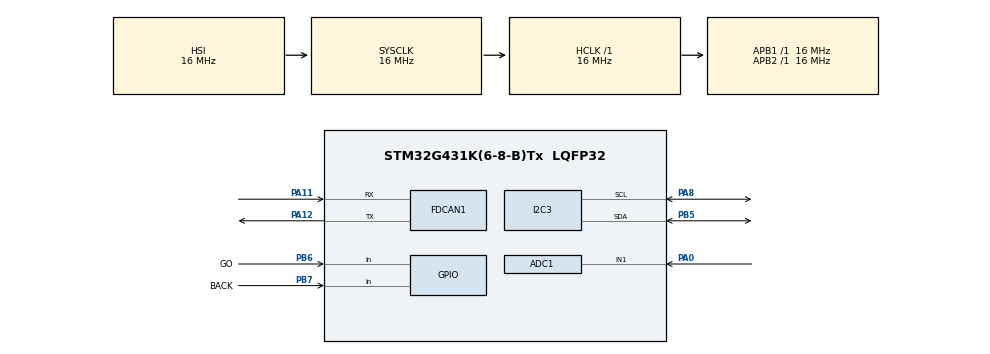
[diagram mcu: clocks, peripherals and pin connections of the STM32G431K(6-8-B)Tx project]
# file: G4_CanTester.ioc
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ADC1.Channel-0\#ChannelRegularConversion=ADC_CHANNEL_1
ADC1.ClockPrescaler=ADC_CLOCK_ASYNC_DIV4
ADC1.ContinuousConvMode=ENABLE
ADC1.DMAContinuousRequests=ENABLE
ADC1.DataAlign=ADC_DATAALIGN_RIGHT
ADC1.GainCompensation=0
ADC1.NbrOfConversionFlag=1
ADC1.OffsetNumber-0\#ChannelRegularConversion=ADC_OFFSET_NONE
ADC1.Rank-0\#ChannelRegularConversion=1
ADC1.Resolution=ADC_RESOLUTION_8B
ADC1.SamplingTime-0\#ChannelRegularConversion=ADC_SAMPLETIME_640CYCLES_5
ADC1.master=1
Dma.ADC1.0.Direction=DMA_PERIPH_TO_MEMORY
Dma.ADC1.0.EventEnable=DISABLE
Dma.ADC1.0.Instance=DMA1_Channel1
Dma.ADC1.0.MemDataAlignment=DMA_MDATAALIGN_HALFWORD
Dma.ADC1.0.MemInc=DMA_MINC_ENABLE
Dma.ADC1.0.Mode=DMA_CIRCULAR
Dma.ADC1.0.PeriphDataAlignment=DMA_PDATAALIGN_HALFWORD
Dma.ADC1.0.PeriphInc=DMA_PINC_DISABLE
Dma.ADC1.0.Polarity=HAL_DMAMUX_REQ_GEN_RISING
Dma.ADC1.0.Priority=DMA_PRIORITY_LOW
Dma.ADC1.0.RequestNumber=1
Dma.ADC1.0.SignalID=NONE
Dma.ADC1.0.SyncEnable=DISABLE
Dma.ADC1.0.SyncPolarity=HAL_DMAMUX_SYNC_NO_EVENT
Dma.ADC1.0.SyncRequestNumber=1
Dma.ADC1.0.SyncSignalID=NONE
Dma.Request0=ADC1
FDCAN1.CalculateBaudRateNominal=1000000
FDCAN1.CalculateTimeBitNominal=1000
FDCAN1.CalculateTimeQuantumNominal=62.5
FDCAN1.NominalPrescaler=1
FDCAN1.NominalTimeSeg1=11
FDCAN1.NominalTimeSeg2=4
FDCAN1.StdFiltersNbr=1
I2C3.Timing=0x00503D58
Mcu.Family=STM32G4
Mcu.Name=STM32G431K(6-8-B)Tx
Mcu.Package=LQFP32
NVIC.DMA1_Channel1_IRQn=true\:0\:0\:false\:false\:true\:false\:true\:true
NVIC.FDCAN1_IT0_IRQn=true\:0\:0\:false\:false\:true\:true\:true\:true
NVIC.PriorityGroup=NVIC_PRIORITYGROUP_4
PA0.Mode=IN1-Single-Ended
PA0.Signal=ADC1_IN1
PA11.Mode=FDCAN_Activate
PA11.Signal=FDCAN1_RX
PA12.Mode=FDCAN_Activate
PA12.Signal=FDCAN1_TX
PA8.Mode=I2C
PA8.Signal=I2C3_SCL
PB5.Mode=I2C
PB5.Signal=I2C3_SDA
PB6.GPIO_Label=GO
PB6.Signal=GPIO_Input
PB7.GPIO_Label=BACK
PB7.Signal=GPIO_Input
ProjectManager.HeapSize=0x200
ProjectManager.StackSize=0x400
ProjectManager.TargetToolchain=STM32CubeIDE
RCC.AHBFreq_Value=16000000
RCC.APB1Freq_Value=16000000
RCC.APB1TimFreq_Value=16000000
RCC.APB2Freq_Value=16000000
RCC.APB2TimFreq_Value=16000000
RCC.CortexFreq_Value=16000000
RCC.EXTERNAL_CLOCK_VALUE=12288000
RCC.HCLKFreq_Value=16000000
RCC.HSE_VALUE=8000000
RCC.HSI48_VALUE=48000000
RCC.HSI_VALUE=16000000
RCC.LSE_VALUE=32768
RCC.SYSCLKFreq_VALUE=16000000
RCC.USBFreq_Value=64000000
RCC.VCOOutputFreq_Value=128000000
VP_SYS_VS_DBSignals.Mode=DisableDeadBatterySignals
board=custom

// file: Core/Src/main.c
/* USER CODE BEGIN Header */
/**
  ******************************************************************************
  * @file           : main.c
  * @brief          : Main program body
  ******************************************************************************
  * @attention
  *
  * Copyright (c) 2025 STMicroelectronics.
  * All rights reserved.
  *
  * This software is licensed under terms that can be found in the LICENSE file
  * in the root directory of this software component.
  * If no LICENSE file comes with this software, it is provided AS-IS.
  *
  ******************************************************************************
  */
/* USER CODE END Header */
#include "main.h"

/* USER CODE BEGIN Includes */
#include "ssd1306.h"
#include "fonts.h"
#include <string.h>
/* USER CODE END Includes */

/* USER CODE BEGIN PTD */
FDCAN_FilterTypeDef sFilterConfig;

/* USER CODE END PTD */

/* USER CODE BEGIN PD */
int cnt;
/* USER CODE END PD */

ADC_HandleTypeDef hadc1;
DMA_HandleTypeDef hdma_adc1;

FDCAN_HandleTypeDef hfdcan1;

I2C_HandleTypeDef hi2c3;

/* USER CODE BEGIN PV */

//for view
int view;

uint16_t adc_value;
char buffer[20];

//for can
uint32_t setted_id = 0x123;
uint8_t setted_prescaler = 1;
uint8_t can_rxdata[8] = {255,255,255,255,255,255,255,255};
uint8_t pre_can_rxdata[8] = {0};
/* USER CODE END PV */

void SystemClock_Config(void);
static void MX_GPIO_Init(void);
static void MX_DMA_Init(void);
static void MX_I2C3_Init(void);
static void MX_ADC1_Init(void);
static void MX_FDCAN1_Init(void);
/* USER CODE BEGIN PFP */
static void FDCAN_Config(void){

    sFilterConfig.IdType = FDCAN_STANDARD_ID;
    sFilterConfig.FilterIndex = 0;
    sFilterConfig.FilterType = FDCAN_FILTER_MASK;
    sFilterConfig.FilterConfig = FDCAN_FILTER_TO_RXFIFO0;
    sFilterConfig.FilterID1 = 0x000;
    sFilterConfig.FilterID2 = 0x7FF;
    if(HAL_FDCAN_ConfigFilter(&hfdcan1, &sFilterConfig) != HAL_OK){
        Error_Handler();
    }
    /* Configure global filter to reject all non-matching frames */
    if(HAL_FDCAN_ConfigGlobalFilter(&hfdcan1, FDCAN_REJECT, FDCAN_REJECT, FDCAN_REJECT_REMOTE, FDCAN_REJECT_REMOTE) != HAL_OK){
        Error_Handler();
    }
    if(HAL_FDCAN_Start(&hfdcan1) != HAL_OK){
        Error_Handler();
    }
    if(HAL_FDCAN_ActivateNotification(&hfdcan1, FDCAN_IT_RX_FIFO0_NEW_MESSAGE, 0) != HAL_OK){
        Error_Handler();
    }
}

void HAL_FDCAN_RxFifo0Callback(FDCAN_HandleTypeDef *hfdcan, uint32_t RxFifo0ITs){
    for(uint8_t i = 0;i<8;i++){
    	pre_can_rxdata[i] = can_rxdata[i];
    }
	FDCAN_RxHeaderTypeDef RxHeader;

    if((RxFifo0ITs & FDCAN_IT_RX_FIFO0_NEW_MESSAGE) != RESET){
        if(HAL_FDCAN_GetRxMessage(hfdcan, FDCAN_RX_FIFO0, &RxHeader, (uint8_t*)can_rxdata) != HAL_OK){
            Error_Handler();
        }
    }
}
/* USER CODE END PFP */

int main(void)
{

  /* MCU Configuration--------------------------------------------------------*/

  /* Reset of all peripherals, Initializes the Flash interface and the Systick. */
  HAL_Init();

  /* Configure the system clock */
  SystemClock_Config();

  /* Initialize all configured peripherals */
  MX_GPIO_Init();
  MX_DMA_Init();
  MX_I2C3_Init();
  MX_ADC1_Init();
  MX_FDCAN1_Init();
  /* USER CODE BEGIN 2 */

  //for can
  FDCAN_Config();

  //for ssd1306
  ssd1306_Init(&hi2c3);
  ssd1306_SetCursor(0, 36);
  ssd1306_WriteString("Hello World", Font_11x18, White);
  ssd1306_UpdateScreen(&hi2c3);
  HAL_ADCEx_Calibration_Start(&hadc1, ADC_SINGLE_ENDED);
  HAL_ADC_Start_DMA(&hadc1,(uint32_t *)&adc_value, 1);
  /* USER CODE END 2 */

  /* Infinite loop */
  /* USER CODE BEGIN WHILE */
  while (1){

	  //setting
	  uint8_t adc_value_configured = (255 - adc_value)/16;
	  char content[20];
	  memcpy(buffer, 0, sizeof(0));
	  memcpy(content, 0, sizeof(0));
	  ssd1306_Fill(Black);
	  uint8_t go_flag;
	  uint8_t back_flag;
	  uint8_t go_state;
	  uint8_t back_state;

	  //read GPIO pin
	  if(go_flag && HAL_GPIO_ReadPin(GO_GPIO_Port, GO_Pin)==GPIO_PIN_SET){
		  go_state = 1;
		  go_flag = 0;
	  }else{
		  go_state = 0;
		  go_flag = 1;
	  }
	  if(back_flag && HAL_GPIO_ReadPin(BACK_GPIO_Port, BACK_Pin)==GPIO_PIN_SET){
		  back_state = 1;
		  back_flag = 0;
	  }else{
		  back_state = 0;
		  back_flag = 1;
	  }

	  if(view == 1){//rx mode, set id of 0xF00;
		  setted_id = setted_id & 0x0FF;
		  setted_id += (adc_value_configured)<<8;
		  sprintf(content, "id 0x%d%d%d   rx mode",(setted_id & 0xF00)>>8, (setted_id & 0x0F0)>>4, setted_id & 0x00F);
		  ssd1306_SetCursor(0, 0);
		  ssd1306_WriteString(content, Font_7x10, White);
		  if(go_state){
			  view = 0;
		  }
	  }else if(view == 2){//rx mode, set id of 0x0F0;
		  setted_id = setted_id & 0xF0F;
		  setted_id += (adc_value_configured)<<4;
		  sprintf(content, "id 0x%d%d%d   rx mode",(setted_id & 0xF00)>>8, (setted_id & 0x0F0)>>4, setted_id & 0x00F);
		  ssd1306_SetCursor(0, 0);
		  ssd1306_WriteString(content, Font_7x10, White);
		  if(go_state){
			  view = 0;
		  }
	  }else if(view == 3){//rx mode, set id of 0x00F;
		  setted_id = setted_id & 0xFF0;
		  setted_id += (adc_value_configured);
		  sprintf(content, "id 0x%d%d%d   rx mode",(setted_id & 0xF00)>>8, (setted_id & 0x0F0)>>4, setted_id & 0x00F);
		  ssd1306_SetCursor(0, 0);
		  ssd1306_WriteString(content, Font_7x10, White);
		  if(go_state){
			  view = 0;
		  }
	  }else if(view == 4){
		 if(adc_value_configured > 7){
			 setted_prescaler = 1;
		 }else{
			 setted_prescaler = 2;
		 }
		 if(setted_prescaler == 1){
			  sprintf(content, "1M");
		  }else if(setted_prescaler == 2){
			  sprintf(content, "500k");
		  }
		  ssd1306_SetCursor(0, 8);
		  ssd1306_WriteString(content, Font_7x10, Black);
		 if(go_state){
			  hfdcan1.Instance = FDCAN1;
			  hfdcan1.Init.ClockDivider = FDCAN_CLOCK_DIV1;
			  hfdcan1.Init.FrameFormat = FDCAN_FRAME_CLASSIC;
			  hfdcan1.Init.Mode = FDCAN_MODE_NORMAL;
			  hfdcan1.Init.AutoRetransmission = DISABLE;
			  hfdcan1.Init.TransmitPause = DISABLE;
			  hfdcan1.Init.ProtocolException = DISABLE;
			  hfdcan1.Init.NominalPrescaler = setted_prescaler;
			  hfdcan1.Init.NominalSyncJumpWidth = 1;
			  hfdcan1.Init.NominalTimeSeg1 = 11;
			  hfdcan1.Init.NominalTimeSeg2 = 4;
			  hfdcan1.Init.DataPrescaler = 1;
			  hfdcan1.Init.DataSyncJumpWidth = 1;
			  hfdcan1.Init.DataTimeSeg1 = 1;
			  hfdcan1.Init.DataTimeSeg2 = 1;
			  hfdcan1.Init.StdFiltersNbr = 1;
			  hfdcan1.Init.ExtFiltersNbr = 0;
			  hfdcan1.Init.TxFifoQueueMode = FDCAN_TX_FIFO_OPERATION;
			  if (HAL_FDCAN_Init(&hfdcan1) != HAL_OK)
			  {
			    Error_Handler();
			  }
			  FDCAN_Config();
			 view = 0;
		 }
	  }else if(view == 0){
		  sprintf(buffer, "id 0x%d%d%d   rx mode",(setted_id&0xF00)>>8,(setted_id&0x0F0)>>4,(setted_id&0x00F));
		  ssd1306_SetCursor(0, 0);
		  ssd1306_WriteString(buffer, Font_7x10, White);

		  if(setted_prescaler == 1){
			  sprintf(buffer, "1M");
		  }else if(setted_prescaler == 2){
			  sprintf(buffer, "500k");
		  }
		  ssd1306_SetCursor(0, 8);
		  ssd1306_WriteString(buffer, Font_7x10, White);

		  //put rxdata
		  sprintf(content,"%d %d %d %d", can_rxdata[0],can_rxdata[1],can_rxdata[2],can_rxdata[3]);
		  ssd1306_SetCursor(0,45);
		  ssd1306_WriteString(content, Font_7x10, White);
		  sprintf(content,"  %d %d %d %d", can_rxdata[4],can_rxdata[5],can_rxdata[6],can_rxdata[7]);
		  ssd1306_SetCursor(0,53);
		  ssd1306_WriteString(content, Font_7x10, White);
		  sprintf(content,"%d %d %d %d", pre_can_rxdata[0], pre_can_rxdata[1], pre_can_rxdata[2], pre_can_rxdata[3]);
		  ssd1306_SetCursor(0,25);
		  ssd1306_WriteString(content, Font_7x10, White);
		  sprintf(content,"  %d %d %d %d", pre_can_rxdata[4], pre_can_rxdata[5], pre_can_rxdata[6], pre_can_rxdata[7]);
		  ssd1306_SetCursor(0,33);
		  ssd1306_WriteString(content, Font_7x10, White);
		  //carsor figured;
		  uint8_t column = adc_value_configured;
		  if(column == 5){
			  //hilight cursor
			  sprintf(content, "%d",(setted_id&0xF00)>>8);
			  ssd1306_SetCursor(35, 0);
			  ssd1306_WriteString(content, Font_7x10, Black);
			  if(go_state){
				  view = 1;
			  }
		  }else if(column == 6){
			  //hilight cursor
			  sprintf(content, "%d",(setted_id&0x0F0)>>4);
			  ssd1306_SetCursor(42, 0);
			  ssd1306_WriteString(content, Font_7x10, Black);
			  if(go_state){
				  view = 2;
			  }
		  }else if(column == 7){
			  //hilight cursor
			  sprintf(content, "%d",(setted_id&0x00F));
			  ssd1306_SetCursor(49, 0);
			  ssd1306_WriteString(content, Font_7x10, Black);
			  if(go_state){
				  view = 3;
			  }
		  }else if(column == 9){
			  //hilight cursor
			  if(setted_prescaler == 1){
				  sprintf(content, "1M");
			  }else if(setted_prescaler == 2){
				  sprintf(content, "500k");
			  }
			  ssd1306_SetCursor(0, 8);
			  ssd1306_WriteString(content, Font_7x10, Black);
			  if(go_state){
				  view = 4;
			  }
		  }
	  }

	  //show
	  ssd1306_UpdateScreen(&hi2c3);

	  //can filter config

	  sFilterConfig.FilterID1 = setted_id;
	  if(HAL_FDCAN_ConfigFilter(&hfdcan1, &sFilterConfig) != HAL_OK){
		  Error_Handler();
	  }
    /* USER CODE END WHILE */

  }
}

void SystemClock_Config(void)
{
  RCC_OscInitTypeDef RCC_OscInitStruct = {0};
  RCC_ClkInitTypeDef RCC_ClkInitStruct = {0};

  /** Configure the main internal regulator output voltage
  */
  HAL_PWREx_ControlVoltageScaling(PWR_REGULATOR_VOLTAGE_SCALE1);

  /** Initializes the RCC Oscillators according to the specified parameters
  * in the RCC_OscInitTypeDef structure.
  */
  RCC_OscInitStruct.OscillatorType = RCC_OSCILLATORTYPE_HSI;
  RCC_OscInitStruct.HSIState = RCC_HSI_ON;
  RCC_OscInitStruct.HSICalibrationValue = RCC_HSICALIBRATION_DEFAULT;
  RCC_OscInitStruct.PLL.PLLState = RCC_PLL_NONE;
  if (HAL_RCC_OscConfig(&RCC_OscInitStruct) != HAL_OK)
  {
    Error_Handler();
  }

  /** Initializes the CPU, AHB and APB buses clocks
  */
  RCC_ClkInitStruct.ClockType = RCC_CLOCKTYPE_HCLK|RCC_CLOCKTYPE_SYSCLK
                              |RCC_CLOCKTYPE_PCLK1|RCC_CLOCKTYPE_PCLK2;
  RCC_ClkInitStruct.SYSCLKSource = RCC_SYSCLKSOURCE_HSI;
  RCC_ClkInitStruct.AHBCLKDivider = RCC_SYSCLK_DIV1;
  RCC_ClkInitStruct.APB1CLKDivider = RCC_HCLK_DIV1;
  RCC_ClkInitStruct.APB2CLKDivider = RCC_HCLK_DIV1;

  if (HAL_RCC_ClockConfig(&RCC_ClkInitStruct, FLASH_LATENCY_0) != HAL_OK)
  {
    Error_Handler();
  }
}

static void MX_ADC1_Init(void)
{

  ADC_MultiModeTypeDef multimode = {0};
  ADC_ChannelConfTypeDef sConfig = {0};

  /** Common config
  */
  hadc1.Instance = ADC1;
  hadc1.Init.ClockPrescaler = ADC_CLOCK_ASYNC_DIV4;
  hadc1.Init.Resolution = ADC_RESOLUTION_8B;
  hadc1.Init.DataAlign = ADC_DATAALIGN_RIGHT;
  hadc1.Init.GainCompensation = 0;
  hadc1.Init.ScanConvMode = ADC_SCAN_DISABLE;
  hadc1.Init.EOCSelection = ADC_EOC_SINGLE_CONV;
  hadc1.Init.LowPowerAutoWait = DISABLE;
  hadc1.Init.ContinuousConvMode = ENABLE;
  hadc1.Init.NbrOfConversion = 1;
  hadc1.Init.DiscontinuousConvMode = DISABLE;
  hadc1.Init.ExternalTrigConv = ADC_SOFTWARE_START;
  hadc1.Init.ExternalTrigConvEdge = ADC_EXTERNALTRIGCONVEDGE_NONE;
  hadc1.Init.DMAContinuousRequests = ENABLE;
  hadc1.Init.Overrun = ADC_OVR_DATA_PRESERVED;
  hadc1.Init.OversamplingMode = DISABLE;
  if (HAL_ADC_Init(&hadc1) != HAL_OK)
  {
    Error_Handler();
  }

  /** Configure the ADC multi-mode
  */
  multimode.Mode = ADC_MODE_INDEPENDENT;
  if (HAL_ADCEx_MultiModeConfigChannel(&hadc1, &multimode) != HAL_OK)
  {
    Error_Handler();
  }

  /** Configure Regular Channel
  */
  sConfig.Channel = ADC_CHANNEL_1;
  sConfig.Rank = ADC_REGULAR_RANK_1;
  sConfig.SamplingTime = ADC_SAMPLETIME_640CYCLES_5;
  sConfig.SingleDiff = ADC_SINGLE_ENDED;
  sConfig.OffsetNumber = ADC_OFFSET_NONE;
  sConfig.Offset = 0;
  if (HAL_ADC_ConfigChannel(&hadc1, &sConfig) != HAL_OK)
  {
    Error_Handler();
  }

}

static void MX_FDCAN1_Init(void)
{

  hfdcan1.Instance = FDCAN1;
  hfdcan1.Init.ClockDivider = FDCAN_CLOCK_DIV1;
  hfdcan1.Init.FrameFormat = FDCAN_FRAME_CLASSIC;
  hfdcan1.Init.Mode = FDCAN_MODE_NORMAL;
  hfdcan1.Init.AutoRetransmission = DISABLE;
  hfdcan1.Init.TransmitPause = DISABLE;
  hfdcan1.Init.ProtocolException = DISABLE;
  hfdcan1.Init.NominalPrescaler = 1;
  hfdcan1.Init.NominalSyncJumpWidth = 1;
  hfdcan1.Init.NominalTimeSeg1 = 11;
  hfdcan1.Init.NominalTimeSeg2 = 4;
  hfdcan1.Init.DataPrescaler = 1;
  hfdcan1.Init.DataSyncJumpWidth = 1;
  hfdcan1.Init.DataTimeSeg1 = 1;
  hfdcan1.Init.DataTimeSeg2 = 1;
  hfdcan1.Init.StdFiltersNbr = 1;
  hfdcan1.Init.ExtFiltersNbr = 0;
  hfdcan1.Init.TxFifoQueueMode = FDCAN_TX_FIFO_OPERATION;
  if (HAL_FDCAN_Init(&hfdcan1) != HAL_OK)
  {
    Error_Handler();
  }

}

static void MX_I2C3_Init(void)
{

  hi2c3.Instance = I2C3;
  hi2c3.Init.Timing = 0x00503D58;
  hi2c3.Init.OwnAddress1 = 0;
  hi2c3.Init.AddressingMode = I2C_ADDRESSINGMODE_7BIT;
  hi2c3.Init.DualAddressMode = I2C_DUALADDRESS_DISABLE;
  hi2c3.Init.OwnAddress2 = 0;
  hi2c3.Init.OwnAddress2Masks = I2C_OA2_NOMASK;
  hi2c3.Init.GeneralCallMode = I2C_GENERALCALL_DISABLE;
  hi2c3.Init.NoStretchMode = I2C_NOSTRETCH_DISABLE;
  if (HAL_I2C_Init(&hi2c3) != HAL_OK)
  {
    Error_Handler();
  }

  /** Configure Analogue filter
  */
  if (HAL_I2CEx_ConfigAnalogFilter(&hi2c3, I2C_ANALOGFILTER_ENABLE) != HAL_OK)
  {
    Error_Handler();
  }

  /** Configure Digital filter
  */
  if (HAL_I2CEx_ConfigDigitalFilter(&hi2c3, 0) != HAL_OK)
  {
    Error_Handler();
  }

}

static void MX_DMA_Init(void)
{

  /* DMA controller clock enable */
  __HAL_RCC_DMAMUX1_CLK_ENABLE();
  __HAL_RCC_DMA1_CLK_ENABLE();

  /* DMA interrupt init */
  /* DMA1_Channel1_IRQn interrupt configuration */
  HAL_NVIC_SetPriority(DMA1_Channel1_IRQn, 0, 0);
  HAL_NVIC_EnableIRQ(DMA1_Channel1_IRQn);

}

static void MX_GPIO_Init(void)
{
  GPIO_InitTypeDef GPIO_InitStruct = {0};

  /* GPIO Ports Clock Enable */
  __HAL_RCC_GPIOA_CLK_ENABLE();
  __HAL_RCC_GPIOB_CLK_ENABLE();

  /*Configure GPIO pins : GO_Pin BACK_Pin */
  GPIO_InitStruct.Pin = GO_Pin|BACK_Pin;
  GPIO_InitStruct.Mode = GPIO_MODE_INPUT;
  GPIO_InitStruct.Pull = GPIO_NOPULL;
  HAL_GPIO_Init(GPIOB, &GPIO_InitStruct);

}

void Error_Handler(void)
{
  __disable_irq();
  while (1)
  {
  }
}
